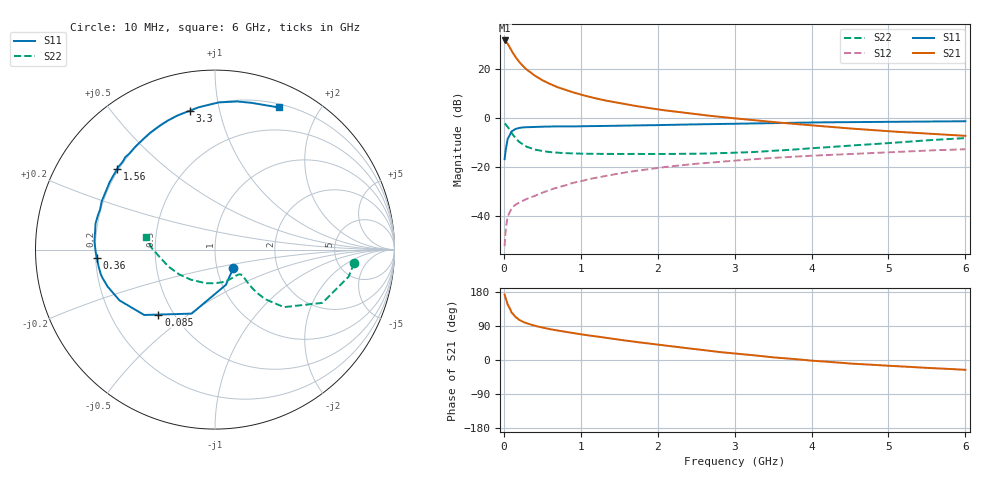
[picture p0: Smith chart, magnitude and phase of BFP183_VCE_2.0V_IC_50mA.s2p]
! Infineon Technologies  Discrete & RF Semiconductors
! BFP183
! VCE = 2.0 V,  IC =  50 mA
! Common Emitter S-Parameters:  Jan 2016
# GHz  S  MA  R  50
!  f  S11  S21  S12  S22
! GHz  MAG  ANG  MAG  ANG  MAG  ANG  MAG  ANG
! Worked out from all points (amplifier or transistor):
!   210 points, 10 MHz to 6 GHz, reference 50 ohm
!   highest |S21| = 31.8 dB at 10 MHz (marker M1)
!   |S21| within 3 dB of that: start of sweep to 78.28 MHz
!   unconditionally stable (mu >= 1): start of sweep to 28.25 MHz; 231.2 MHz to end of sweep
!   at 185 MHz: K = 0.89, MSG = 29.3 dB, |S12| = -34.8 dB
!   at 1.52 GHz: K = 1.58, MAG = 9.8 dB, |S12| = -22.5 dB
!   at 6 GHz: K = 1.22, MAG = -0.1 dB, |S12| = -12.7 dB
!   S11 on the Smith chart (normalised r, x): 10 MHz: 1.20, -0.25; 85 MHz: 0.41, -0.39; 360 MHz: 0.21, -0.03; 1.56 GHz: 0.19, +0.35; 3.3 GHz: 0.20, +0.82; 6 GHz: 0.24, +1.52
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0.01  0.1452 -45.2  39.11 172.6  0.0024 67.8  0.7788 -5.5
0.02  0.2058 -73.0  38.39 165.4  0.0043 71.7  0.7596 -11.5
0.05  0.3799 -110.1  33.43 145.9  0.0096 62.7  0.6678 -26.4
0.085  0.4802 -131.1  26.48 133.0  0.0127 52.0  0.5472 -34.9
0.1  0.5371 -137.3  24.07 125.3  0.0141 48.9  0.5005 -39.8
0.15  0.6026 -152.0  18.03 113.4  0.0169 47.7  0.3921 -44.7
0.2  0.6329 -161.0  14.21 105.9  0.0187 47.2  0.3278 -46.0
0.26  0.6512 -168.0  11.26 99.8  0.0208 49.3  0.2822 -45.8
0.3  0.6554 -171.7  9.82 96.5  0.0224 50.2  0.26 -45.3
0.36  0.6599 -176.0  8.401 93.1  0.0243 52.3  0.2414 -44.6
0.4  0.6649 -178.9  7.476 90.2  0.0256 53.6  0.229 -44.1
0.5  0.6733 176.1  5.996 85.5  0.0298 56.1  0.2123 -43.6
0.6  0.6752 171.6  5.039 81.3  0.0341 57.5  0.2024 -43.7
0.8  0.6803 164.0  3.795 74.2  0.0422 60.1  0.1927 -45.6
1.02  0.6862 156.5  2.988 67.3  0.0522 60.7  0.1878 -49.5
1.56  0.7059 140.6  1.962 52.0  0.0769 58.6  0.1854 -62.4
2.02  0.724 128.2  1.499 39.9  0.0969 54.5  0.1862 -76.3
3.1  0.7784 103.9  0.96 15.3  0.1393 43.7  0.1982 -115.0
3.3  0.7866 100.2  0.895 11.4  0.1466 41.7  0.2053 -122.4
4.1  0.8223 87.1  0.695 -3.0  0.1734 33.4  0.2484 -148.8
5.1  0.8443 74.8  0.529 -16.2  0.2036 24.4  0.317 -173.9
6  0.8674 65.9  0.436 -25.9  0.2315 15.1  0.3921 169.8
